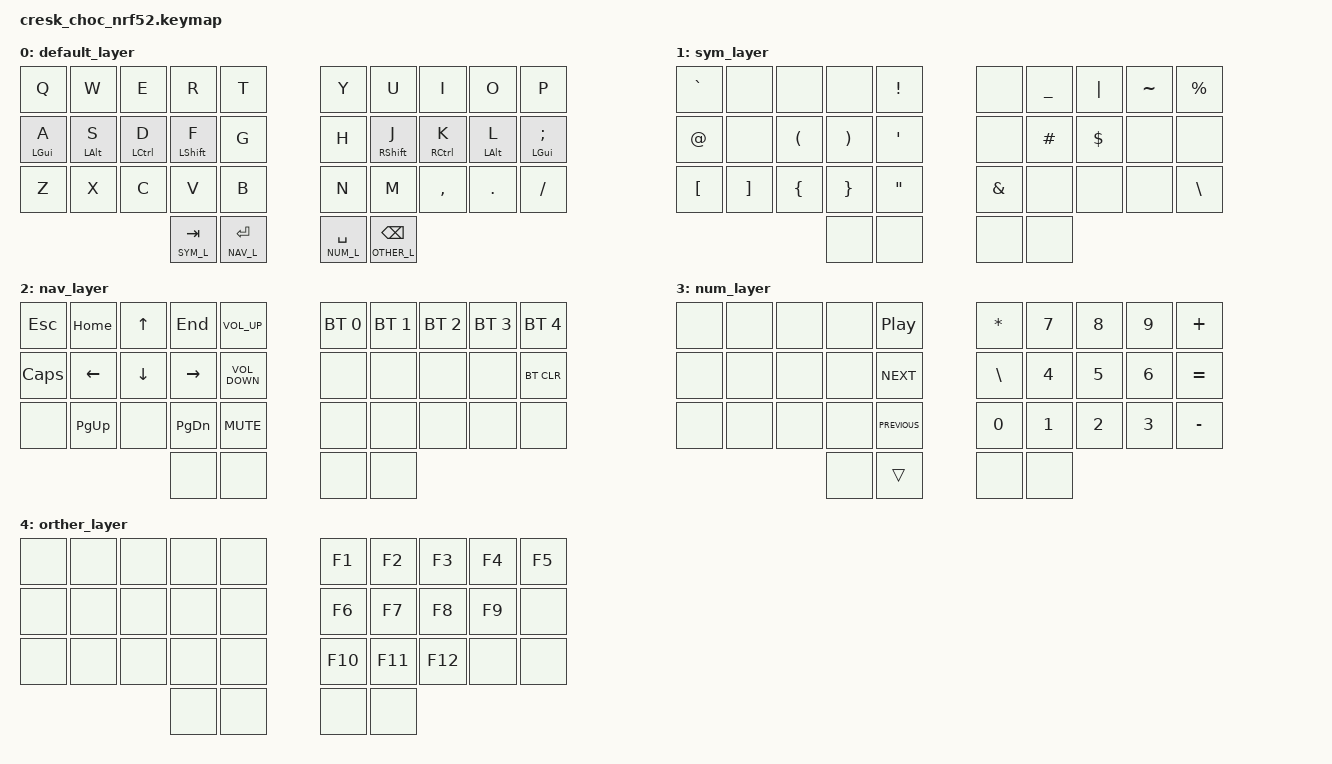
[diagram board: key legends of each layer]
/*
 * Copyright (c) 2023 The ZMK Contributors
 *
 * SPDX-License-Identifier: MIT
 */

#include <behaviors.dtsi>
#include <dt-bindings/zmk/keys.h>
#include <dt-bindings/zmk/bt.h>
#include <dt-bindings/zmk/outputs.h>

#define NAV_L 1
#define SYM_L 2
#define NUM_L 3
#define OTHER_L 4


// Using layer taps on thumbs, having quick tap as well helps w/ repeating space/backspace
&lt { quick_tap_ms = <200>; };


/ {
    behaviors {
        hm: homerow_mods {
            compatible = "zmk,behavior-hold-tap";
            label = "homerow mods";
            #binding-cells = <2>;
            tapping_term_ms = <200>;
            flavor = "tap-preferred";
            bindings = <&kp>, <&kp>;
        };
    };
    combos {
        compatible = "zmk,combos";
        combo_esc {
            timeout-ms = <50>;
            key-positions = <1 2>;
            bindings = <&kp ESC>;
        };
        combo_del {
            timeout-ms = <50>;
            key-positions = <7 8>;
            bindings = <&kp DEL>;
        };
        combo_bs {
            timeout-ms = <50>;
            key-positions = <17 18>;
            bindings = <&kp BKSP>;
        };
        combo_insert {
            timeout-ms = <50>;
            key-positions = <27 28>;
            bindings = <&kp INS>;
        };
    };

    keymap {
        compatible = "zmk,keymap";

        default_layer {
            bindings = <
&kp Q       &kp W       &kp E        &kp R          &kp T            &kp Y            &kp U             &kp I        &kp O       &kp P
&hm LGUI A  &hm LALT S  &hm LCTRL D  &hm LSHFT F    &kp G            &kp H            &hm RSHFT J       &hm RCTRL K  &hm LALT L  &hm LGUI SEMI
&kp Z       &kp X       &kp C        &kp V          &kp B            &kp N            &kp M             &kp COMMA    &kp DOT     &kp FSLH
                                     &lt SYM_L TAB  &lt NAV_L ENTER  &lt NUM_L SPACE  &lt OTHER_L BKSP
            >;

        };

        sym_layer {
            bindings = <
&kp GRAVE    &none     &none     &none     &kp EXCL  &none     &kp UNDER  &kp PIPE    &kp TILDE  &kp PERCENT
&kp AT_SIGN  &none     &kp LPAR  &kp RPAR  &kp SQT   &none     &kp HASH   &kp DOLLAR  &none      &none
&kp LBKT     &kp RBKT  &kp LBRC  &kp RBRC  &kp DQT   &kp AMPS  &none      &none       &none      &kp BSLH
                                 &none     &none     &none     &none
            >;
        };
        nav_layer {
            bindings = <
&kp ESC       &kp HOME   &kp UP    &kp END    &kp C_VOLUME_UP    &bt BT_SEL 0  &bt BT_SEL 1  &bt BT_SEL 2  &bt BT_SEL 3  &bt BT_SEL 4
&kp CAPSLOCK  &kp LEFT   &kp DOWN  &kp RIGHT  &kp C_VOLUME_DOWN  &none         &none         &none         &none         &bt BT_CLR
&none         &kp PG_UP  &none     &kp PG_DN  &kp C_MUTE         &none         &none         &none         &none         &none
                                   &none      &none              &none         &none
            >;
        };
        num_layer {
            bindings = <
&none  &none  &none  &none  &kp C_PLAY_PAUSE  &kp ASTERISK  &kp N7  &kp N8  &kp N9  &kp PLUS
&none  &none  &none  &none  &kp C_NEXT        &kp BSLH      &kp N4  &kp N5  &kp N6  &kp EQUAL
&none  &none  &none  &none  &kp C_PREVIOUS    &kp N0        &kp N1  &kp N2  &kp N3  &kp MINUS
                     &none  &trans            &none         &none
            >;
        };
        orther_layer {
            bindings = <
&none  &none  &none  &none  &none  &kp F1   &kp F2   &kp F3   &kp F4  &kp F5
&none  &none  &none  &none  &none  &kp F6   &kp F7   &kp F8   &kp F9  &none
&none  &none  &none  &none  &none  &kp F10  &kp F11  &kp F12  &none   &none
                     &none  &none  &none    &none
            >;
        };
    };
};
